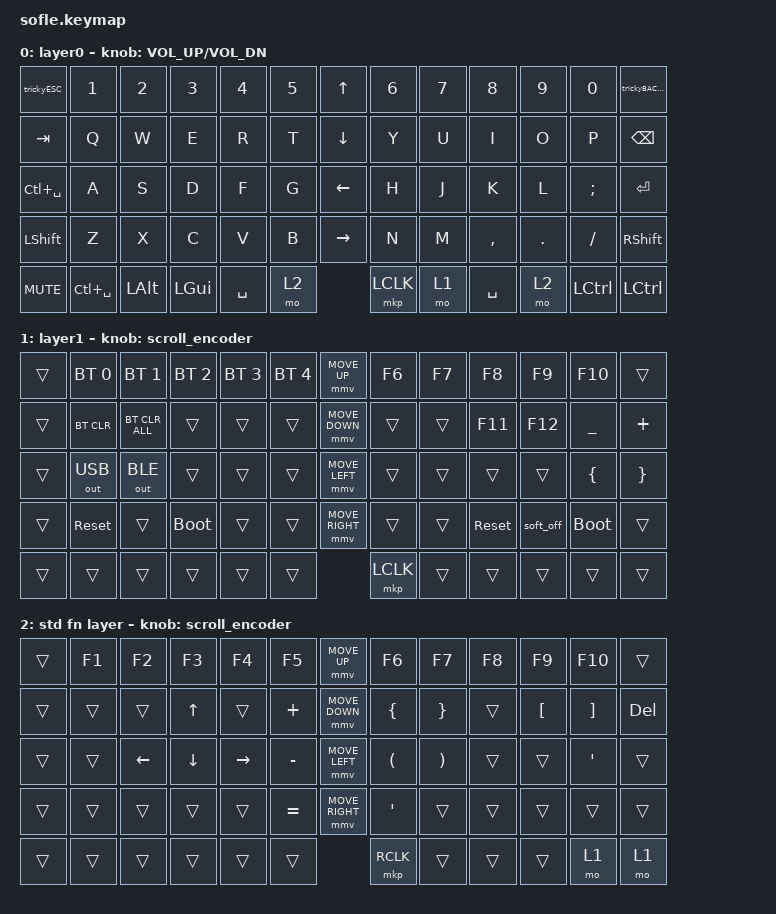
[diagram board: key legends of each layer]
#include <behaviors/mouse_keys.dtsi>
#include <dt-bindings/zmk/mouse.h>
#include <behaviors.dtsi>
#include <dt-bindings/zmk/bt.h>
#include <dt-bindings/zmk/keys.h>
#include <dt-bindings/zmk/outputs.h>

#include <dt-bindings/zmk/rgb.h>

#define ZMK_MOUSE_DEFAULT_MOVE_VAL 1400  // 600
#define ZMK_MOUSE_DEFAULT_SCRL_VAL 40    // 10
#define U_MS_U &mmv MOVE_UP
#define U_MS_D &mmv MOVE_DOWN
#define U_MS_L &mmv MOVE_LEFT
#define U_MS_R &mmv MOVE_RIGHT


/ {
    behaviors {
        mmv {
            acceleration-exponent = <1>;      // 1
            time-to-max-speed-ms = <900>;    // 40
            delay-ms = <0>;                   // 0
        };

        msc {
            acceleration-exponent = <1>;      // 0
            time-to-max-speed-ms = <400>;      // 500
            delay-ms = <0>;                   //   10
        };
    };

    scroll_encoder: scroll_encoder {
        compatible = "zmk,behavior-sensor-rotate";
        #sensor-binding-cells = <0>;
        bindings = <&msc SCRL_DOWN>, <&msc SCRL_UP>;
        tap-ms = <30>;
    };

    trickyESC: trickyESC {
        compatible = "zmk,behavior-mod-morph";
        label = "TRICKYESC";
        bindings = <&kp ESC>, <&kp TILDE>;
        #binding-cells = <0>;
        mods = <(MOD_LSFT|MOD_RSFT)>;
    };

    trickyBACKSLASH: trickyBACKSLASH {
        compatible = "zmk,behavior-mod-morph";
        label = "trickyBACKSLASH";
        bindings = <&kp BSLH>, <&kp GRAVE>;
        #binding-cells = <0>;
        mods = <(MOD_RSFT)>;

    };

    parenthesis: parenthesis {
        compatible = "zmk,behavior-macro";
        #binding-cells = <0>;
        bindings = <&kp LEFT_PARENTHESIS>,<&kp RIGHT_PARENTHESIS>,<&kp LEFT>;
        label = "parenthesis";
    };

    brace: brace {
        compatible = "zmk,behavior-macro";
        #binding-cells = <0>;
        bindings = <&kp LEFT_BRACE>,<&kp RIGHT_BRACE>,<&kp LEFT>;
        label = "brace";
    };


    keymap {
        compatible = "zmk,keymap";

        layer_0 {
            bindings = <
&trickyESC      &kp N1         &kp N2        &kp N3        &kp N4     &kp N5    &kp UP     &kp N6  &kp N7     &kp N8     &kp N9         &kp N0     &trickyBACKSLASH
&kp TAB         &kp Q          &kp W         &kp E         &kp R      &kp T     &kp DOWN   &kp Y   &kp U      &kp I      &kp O          &kp P      &kp BACKSPACE
&kp LC(SPACE)   &kp A          &kp S         &kp D         &kp F      &kp G     &kp LEFT   &kp H   &kp J      &kp K      &kp L          &kp SEMI   &kp ENTER
&kp LSHFT       &kp Z          &kp X         &kp C         &kp V      &kp B     &kp RIGHT  &kp N   &kp M      &kp COMMA  &kp DOT        &kp FSLH   &kp RSHFT 
&kp C_MUTE      &kp LC(SPACE)  &kp LEFT_ALT  &kp LEFT_GUI  &kp SPACE  &mo 2     &mkp LCLK        &mo 1   &kp SPACE  &mo 2  &kp LCTRL    &kp LCTRL
            >;

            sensor-bindings = <&inc_dec_kp C_VOLUME_UP C_VOL_DN>;
            display-name = "layer0";
        };

        layer_1 {
            bindings = <
&trans     &bt BT_SEL 0  &bt BT_SEL 1    &bt BT_SEL 2  &bt BT_SEL 3  &bt BT_SEL 4    &mmv MOVE_UP     &kp F6  &kp F7  &kp F8      &kp F9     &kp F10      &trans
&trans     &bt BT_CLR    &bt BT_CLR_ALL  &trans        &trans        &trans          &mmv MOVE_DOWN   &trans  &trans  &kp F11     &kp F12    &kp UNDER    &kp PLUS
&trans     &out OUT_USB  &out OUT_BLE    &trans        &trans        &trans          &mmv MOVE_LEFT   &trans  &trans  &trans      &trans     &kp LBRC     &kp RBRC
&trans     &sys_reset    &trans          &bootloader   &trans        &trans          &mmv MOVE_RIGHT  &trans  &trans  &sys_reset  &soft_off  &bootloader  &trans
&trans     &trans        &trans          &trans        &trans        &trans          &mkp LCLK        &trans  &trans  &trans      &trans     &trans
            >;
            sensor-bindings = <&scroll_encoder>;
            display-name = "layer1";
        };

        layer_2 {
            bindings = <
&trans  &kp F1   &kp F2      &kp F3      &kp F4     &kp F5        &mmv MOVE_UP     &kp F6                 &kp F7                &kp F8  &kp F9            &kp F10           &trans
&trans  &trans   &trans      &kp UP      &trans     &kp PLUS      &mmv MOVE_DOWN   &kp LEFT_BRACE         &kp RIGHT_BRACE       &trans  &kp LEFT_BRACKET  &kp RIGHT_BRACKET &kp DELETE
&trans  &trans   &kp LEFT    &kp DOWN    &kp RIGHT  &kp MINUS     &mmv MOVE_LEFT   &kp LEFT_PARENTHESIS   &kp RIGHT_PARENTHESIS &trans  &trans            &kp SINGLE_QUOTE  &trans
&trans  &trans   &trans      &trans      &trans     &kp EQUAL     &mmv MOVE_RIGHT  &kp SINGLE_QUOTE       &trans                &trans  &trans            &trans            &trans
&trans  &trans   &trans      &trans      &trans     &trans        &mkp RCLK        &trans                 &trans                &trans  &mo 1             &mo 1
            >;
            display-name = "std fn layer";
            sensor-bindings = <&scroll_encoder>;
    };



     };
};
